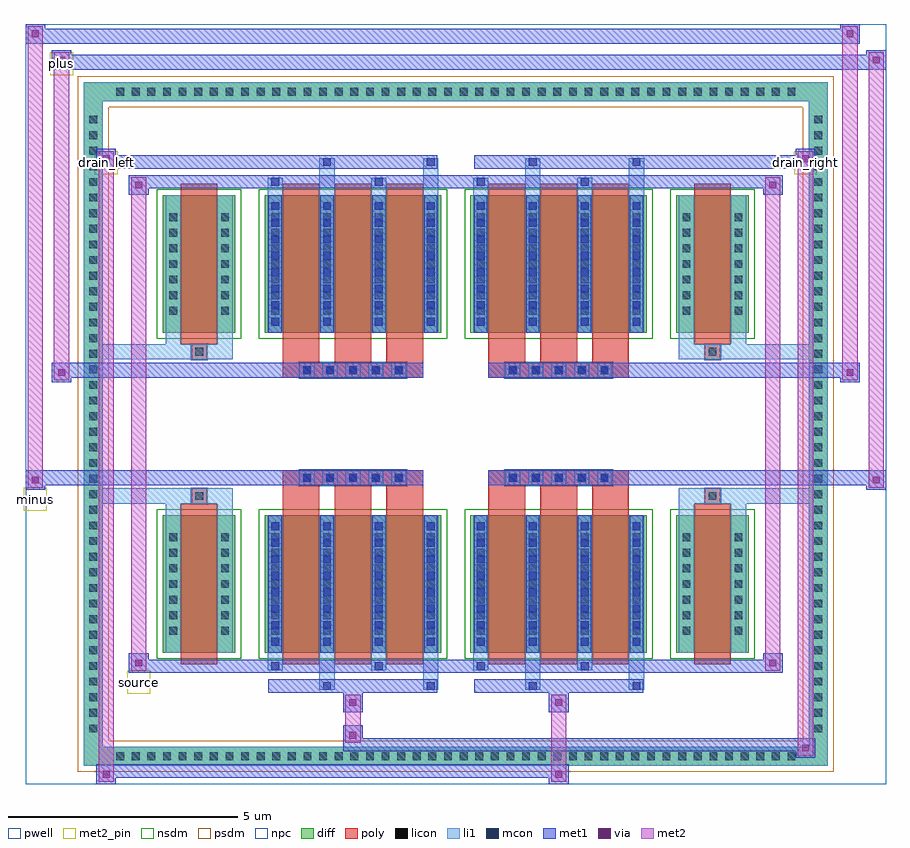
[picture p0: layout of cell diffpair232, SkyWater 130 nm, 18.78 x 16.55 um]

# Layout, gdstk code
import gdstk
lib = gdstk.Library(unit=1e-6, precision=5e-09)
def R(c, l, rs):  # rectangles x0, y0, x1, y1
    for r in rs: c.add(gdstk.rectangle(r[:2], r[2:], *l))
def A(c, l, x, y, w, h, nx, ny, dx, dy):  # array of equal rectangles
    R(c, l, [(x+i*dx, y+j*dy, x+i*dx+w, y+j*dy+h) for i in range(nx) for j in range(ny)])
def P(c, l, *ps):  # polygons
    for p in ps: c.add(gdstk.Polygon(p, *l))
pwell = (64, 44)
diff = (65, 20)
poly = (66, 20)
licon = (66, 44)
li1 = (67, 20)
mcon = (67, 44)
met1 = (68, 20)
via = (68, 44)
met2_pin = (69, 16)
met2 = (69, 20)
nsdm = (93, 44)
psdm = (94, 20)
npc = (95, 20)

diffpair232 = lib.new_cell('diffpair232')
R(diffpair232, pwell, [(-9.37,-7.84,9.37,8.71), (-6.69,-6.03,-0.01,-0.805), (0.01,-6.03,6.69,-0.805), (-6.69,0.805,-0.01,6.03), (0.01,0.805,6.69,6.03)])
A(diffpair232, diff, -7.515, -7.44, 0.41, 0.41, 44, 2, 0.34, 14.47)
A(diffpair232, diff, -8.1, -6.835, 0.41, 0.41, 1, 40, 0, 0.34)
A(diffpair232, diff, 7.69, -6.835, 0.41, 0.41, 1, 40, 0, 0.34)
R(diffpair232, diff, [(-7.515,-7.44,7.515,-7.03), (-8.1,-6.835,-7.69,6.835), (7.69,-6.835,8.1,6.835), (-6.38,-4.985,-4.8,-1.985), (-4.16,-4.985,-0.32,-1.985), (0.32,-4.985,4.16,-1.985), (4.8,-4.985,6.38,-1.985), (-6.38,1.985,-4.8,4.985), (-4.16,1.985,-0.32,4.985), (0.32,1.985,4.16,4.985), (4.8,1.985,6.38,4.985), (-7.515,7.03,7.515,7.44)])
P(diffpair232, diff, [(8.1,7.44),(-8.1,7.44),(-8.1,-7.03),(-7.69,-7.03),(-7.69,7.03),(7.69,7.03),(7.69,-7.03),(-7.69,-7.03),(-8.1,-7.03),(-8.1,-7.44),(8.1,-7.44)])
A(diffpair232, poly, -3.77, -5.235, 0.8, 3.5, 3, 2, 1.13, 6.97)
A(diffpair232, poly, 0.71, -5.235, 0.8, 3.5, 3, 2, 1.13, 6.97)
A(diffpair232, poly, -3.77, -1.735, 0.8, 0.4, 3, 2, 1.13, 3.07)
A(diffpair232, poly, 0.71, -1.735, 0.8, 0.4, 3, 2, 1.13, 3.07)
A(diffpair232, poly, -3.405, -1.335, 0.33, 0.33, 5, 2, 0.5, 2.34)
A(diffpair232, poly, 1.075, -1.335, 0.33, 0.33, 5, 2, 0.5, 2.34)
R(diffpair232, poly, [(-5.99,-5.235,-5.19,-1.735), (5.19,-5.235,5.99,-1.735), (-5.755,-1.735,-5.425,-1.405), (-5.755,-1.735,-5.425,-1.405), (5.425,-1.735,5.755,-1.405), (5.425,-1.735,5.755,-1.405), (-3.77,-1.335,-0.71,-1.005), (0.71,-1.335,3.77,-1.005), (-3.77,1.005,-0.71,1.335), (0.71,1.005,3.77,1.335), (-5.755,1.405,-5.425,1.735), (-5.755,1.405,-5.425,1.735), (5.425,1.405,5.755,1.735), (5.425,1.405,5.755,1.735), (-5.99,1.735,-5.19,5.235), (5.19,1.735,5.99,5.235)])
A(diffpair232, licon, -7.395, -7.32, 0.17, 0.17, 44, 2, 0.34, 14.47)
A(diffpair232, licon, -7.98, -6.715, 0.17, 0.17, 1, 40, 0, 0.34)
A(diffpair232, licon, 7.81, -6.715, 0.17, 0.17, 1, 40, 0, 0.34)
A(diffpair232, licon, -6.24, -4.59, 0.17, 0.17, 1, 7, 0, 0.34)
A(diffpair232, licon, -5.11, -4.59, 0.17, 0.17, 1, 7, 0, 0.34)
A(diffpair232, licon, -4.02, -4.59, 0.17, 0.17, 4, 7, 1.13, 0.34)
A(diffpair232, licon, 0.46, -4.59, 0.17, 0.17, 4, 7, 1.13, 0.34)
A(diffpair232, licon, 4.94, -4.59, 0.17, 0.17, 1, 7, 0, 0.34)
A(diffpair232, licon, 6.07, -4.59, 0.17, 0.17, 1, 7, 0, 0.34)
A(diffpair232, licon, -3.325, -1.255, 0.17, 0.17, 5, 2, 0.5, 2.34)
A(diffpair232, licon, 1.155, -1.255, 0.17, 0.17, 5, 2, 0.5, 2.34)
A(diffpair232, licon, -6.24, 2.38, 0.17, 0.17, 1, 7, 0, 0.34)
A(diffpair232, licon, -5.11, 2.38, 0.17, 0.17, 1, 7, 0, 0.34)
A(diffpair232, licon, -4.02, 2.38, 0.17, 0.17, 4, 7, 1.13, 0.34)
A(diffpair232, licon, 0.46, 2.38, 0.17, 0.17, 4, 7, 1.13, 0.34)
A(diffpair232, licon, 4.94, 2.38, 0.17, 0.17, 1, 7, 0, 0.34)
A(diffpair232, licon, 6.07, 2.38, 0.17, 0.17, 1, 7, 0, 0.34)
R(diffpair232, licon, [(-5.675,-1.655,-5.505,-1.485), (5.505,-1.655,5.675,-1.485), (-5.675,1.485,-5.505,1.655), (5.505,1.485,5.675,1.655)])
A(diffpair232, li1, -7.475, -7.4, 0.33, 0.33, 44, 2, 0.34, 14.47)
A(diffpair232, li1, -8.06, -6.795, 0.33, 0.33, 1, 40, 0, 0.34)
A(diffpair232, li1, 7.73, -6.795, 0.33, 0.33, 1, 40, 0, 0.34)
A(diffpair232, li1, -4.1, -4.985, 0.33, 3, 4, 2, 1.13, 6.97)
A(diffpair232, li1, 0.38, -4.985, 0.33, 3, 4, 2, 1.13, 6.97)
A(diffpair232, li1, -4.02, -4.83, 0.17, 0.17, 4, 8, 1.13, 0.36)
A(diffpair232, li1, -4.02, -4.83, 0.17, 2.69, 4, 2, 1.13, 6.97)
A(diffpair232, li1, 0.46, -4.83, 0.17, 0.17, 4, 8, 1.13, 0.36)
A(diffpair232, li1, 0.46, -4.83, 0.17, 2.69, 4, 2, 1.13, 6.97)
A(diffpair232, li1, -6.32, -4.67, 0.33, 0.33, 1, 7, 0, 0.34)
A(diffpair232, li1, -5.19, -4.67, 0.33, 0.33, 1, 7, 0, 0.34)
A(diffpair232, li1, -4.1, -4.67, 0.33, 0.33, 4, 7, 1.13, 0.34)
A(diffpair232, li1, 0.38, -4.67, 0.33, 0.33, 4, 7, 1.13, 0.34)
A(diffpair232, li1, 4.86, -4.67, 0.33, 0.33, 1, 7, 0, 0.34)
A(diffpair232, li1, 5.99, -4.67, 0.33, 0.33, 1, 7, 0, 0.34)
A(diffpair232, li1, -3.405, -1.335, 0.33, 0.33, 5, 2, 0.5, 2.34)
A(diffpair232, li1, 1.075, -1.335, 0.33, 0.33, 5, 2, 0.5, 2.34)
A(diffpair232, li1, -4.02, 2.14, 0.17, 0.17, 4, 8, 1.13, 0.36)
A(diffpair232, li1, 0.46, 2.14, 0.17, 0.17, 4, 8, 1.13, 0.36)
A(diffpair232, li1, -6.32, 2.3, 0.33, 0.33, 1, 7, 0, 0.34)
A(diffpair232, li1, -5.19, 2.3, 0.33, 0.33, 1, 7, 0, 0.34)
A(diffpair232, li1, -4.1, 2.3, 0.33, 0.33, 4, 7, 1.13, 0.34)
A(diffpair232, li1, 0.38, 2.3, 0.33, 0.33, 4, 7, 1.13, 0.34)
A(diffpair232, li1, 4.86, 2.3, 0.33, 0.33, 1, 7, 0, 0.34)
A(diffpair232, li1, 5.99, 2.3, 0.33, 0.33, 1, 7, 0, 0.34)
R(diffpair232, li1, [(-8.1,-7.44,-7.69,-7.03), (-8.1,-7.44,-7.69,-7.03), (-7.69,-7.44,7.69,-7.03), (7.69,-7.44,8.1,-7.03), (7.69,-7.44,8.1,-7.03), (-8.1,-7.03,-7.69,7.03), (7.69,-7.03,8.1,7.03), (-2.97,-5.79,-2.64,-4.985), (-2.89,-5.79,-2.72,-5.62), (-0.71,-5.79,-0.38,-4.985), (-0.63,-5.79,-0.46,-5.62), (1.51,-5.79,1.84,-4.985), (1.59,-5.79,1.76,-5.62), (3.77,-5.79,4.1,-4.985), (3.85,-5.79,4.02,-5.62), (-4.1,-5.36,-3.77,-4.985), (-4.02,-5.36,-3.85,-5.19), (-1.84,-5.36,-1.51,-4.985), (-1.76,-5.36,-1.59,-5.19), (0.38,-5.36,0.71,-4.985), (0.46,-5.36,0.63,-5.19), (2.64,-5.36,2.97,-4.985), (2.72,-5.36,2.89,-5.19), (-6.32,-4.985,-5.99,-1.985), (-5.19,-4.985,-4.86,-1.985), (4.86,-4.985,5.19,-1.985), (5.99,-4.985,6.32,-1.985), (-6.32,-1.985,-5.99,-1.405), (-5.19,-1.985,-4.86,-1.405), (4.86,-1.985,5.19,-1.405), (5.99,-1.985,6.32,-1.405), (-8.1,-1.735,-5.755,-1.405), (-6.32,-1.735,-5.755,-1.405), (-5.755,-1.735,-5.425,-1.405), (-5.425,-1.735,-4.86,-1.405), (4.86,-1.735,5.425,-1.405), (5.425,-1.735,5.755,-1.405), (5.425,-1.735,8.1,-1.405), (5.755,-1.735,6.32,-1.405), (-8.1,1.405,-5.755,1.735), (-6.32,1.405,-5.755,1.735), (-6.32,1.405,-5.99,1.985), (-5.755,1.405,-5.425,1.735), (-5.425,1.405,-4.86,1.735), (-5.19,1.405,-4.86,1.985), (4.86,1.405,5.425,1.735), (4.86,1.405,5.19,1.985), (5.425,1.405,5.755,1.735), (5.425,1.405,8.1,1.735), (5.755,1.405,6.32,1.735), (5.99,1.405,6.32,1.985), (-6.32,1.985,-5.99,4.985), (-5.19,1.985,-4.86,4.985), (4.86,1.985,5.19,4.985), (5.99,1.985,6.32,4.985), (-4.1,4.985,-3.77,5.36), (-2.97,4.985,-2.64,5.79), (-1.84,4.985,-1.51,5.36), (-0.71,4.985,-0.38,5.79), (0.38,4.985,0.71,5.36), (1.51,4.985,1.84,5.79), (2.64,4.985,2.97,5.36), (3.77,4.985,4.1,5.79), (-4.02,5.19,-3.85,5.36), (-1.76,5.19,-1.59,5.36), (0.46,5.19,0.63,5.36), (2.72,5.19,2.89,5.36), (-2.89,5.62,-2.72,5.79), (-0.63,5.62,-0.46,5.79), (1.59,5.62,1.76,5.79), (3.85,5.62,4.02,5.79), (-8.1,7.03,-7.69,7.44), (-8.1,7.03,-7.69,7.44), (-7.69,7.03,7.69,7.44), (7.69,7.03,8.1,7.44), (7.69,7.03,8.1,7.44)])
A(diffpair232, mcon, -4.02, -4.83, 0.17, 0.17, 4, 8, 1.13, 0.36)
A(diffpair232, mcon, 0.46, -4.83, 0.17, 0.17, 4, 8, 1.13, 0.36)
A(diffpair232, mcon, -3.325, -1.255, 0.17, 0.17, 5, 2, 0.5, 2.34)
A(diffpair232, mcon, 1.155, -1.255, 0.17, 0.17, 5, 2, 0.5, 2.34)
A(diffpair232, mcon, -4.02, 2.14, 0.17, 0.17, 4, 8, 1.13, 0.36)
A(diffpair232, mcon, 0.46, 2.14, 0.17, 0.17, 4, 8, 1.13, 0.36)
R(diffpair232, mcon, [(-2.89,-5.79,-2.72,-5.62), (-0.63,-5.79,-0.46,-5.62), (1.59,-5.79,1.76,-5.62), (3.85,-5.79,4.02,-5.62), (-4.02,-5.36,-3.85,-5.19), (-1.76,-5.36,-1.59,-5.19), (0.46,-5.36,0.63,-5.19), (2.72,-5.36,2.89,-5.19), (-4.02,5.19,-3.85,5.36), (-1.76,5.19,-1.59,5.36), (0.46,5.19,0.63,5.36), (2.72,5.19,2.89,5.36), (-2.89,5.62,-2.72,5.79), (-0.63,5.62,-0.46,5.79), (1.59,5.62,1.76,5.79), (3.85,5.62,4.02,5.79)])
A(diffpair232, met1, -4.08, -4.985, 0.29, 3, 4, 2, 1.13, 6.97)
A(diffpair232, met1, 0.4, -4.985, 0.29, 3, 4, 2, 1.13, 6.97)
A(diffpair232, met1, -4.08, -4.89, 0.29, 0.29, 4, 8, 1.13, 0.36)
A(diffpair232, met1, 0.4, -4.89, 0.29, 0.29, 4, 8, 1.13, 0.36)
A(diffpair232, met1, -3.385, -1.315, 0.29, 0.29, 5, 2, 0.5, 2.34)
A(diffpair232, met1, 1.095, -1.315, 0.29, 0.29, 5, 2, 0.5, 2.34)
A(diffpair232, met1, -4.08, 2.08, 0.29, 0.29, 4, 8, 1.13, 0.36)
A(diffpair232, met1, 0.4, 2.08, 0.29, 0.29, 4, 8, 1.13, 0.36)
R(diffpair232, met1, [(-7.83,-7.84,-7.4,-7.41), (2.025,-7.84,2.455,-7.41), (-7.83,-7.7,2.455,-7.41), (7.4,-7.27,7.83,-6.84), (-2.455,-7.13,7.83,-6.84), (-2.455,-6.99,-2.025,-6.56), (-2.455,-6.28,-2.025,-5.85), (2.025,-6.28,2.455,-5.85), (-4.08,-5.85,-0.4,-5.56), (-2.95,-5.85,-2.66,-5.56), (-0.69,-5.85,-0.4,-5.56), (0.4,-5.85,4.08,-5.56), (1.53,-5.85,1.82,-5.56), (3.79,-5.85,4.08,-5.56), (-7.12,-5.42,-6.69,-4.99), (-7.12,-5.42,-4.08,-5.13), (-4.08,-5.42,-3.79,-5.13), (-4.08,-5.42,-0.4,-5.13), (-1.82,-5.42,-1.53,-5.13), (-0.4,-5.42,0.4,-5.13), (0.4,-5.42,0.69,-5.13), (0.4,-5.42,4.08,-5.13), (2.66,-5.42,2.95,-5.13), (4.08,-5.42,7.12,-5.13), (6.69,-5.42,7.12,-4.99), (-9.37,-1.435,-8.94,-1.005), (8.94,-1.435,9.37,-1.005), (-9.37,-1.335,-0.71,-1.005), (-3.77,-1.335,-0.71,-1.005), (0.71,-1.335,3.77,-1.005), (0.71,-1.335,9.37,-1.005), (-8.8,0.905,-8.37,1.335), (8.37,0.905,8.8,1.335), (-8.8,1.005,-3.77,1.335), (-3.77,1.005,-0.71,1.335), (0.71,1.005,3.77,1.335), (3.77,1.005,8.8,1.335), (-7.12,4.99,-6.69,5.42), (6.69,4.99,7.12,5.42), (-7.12,5.13,-4.08,5.42), (-4.08,5.13,-3.79,5.42), (-4.08,5.13,-0.4,5.42), (-1.82,5.13,-1.53,5.42), (-0.4,5.13,0.4,5.42), (0.4,5.13,0.69,5.42), (0.4,5.13,4.08,5.42), (2.66,5.13,2.95,5.42), (4.08,5.13,7.12,5.42), (-7.83,5.56,-7.4,5.99), (-7.83,5.56,-4.08,5.85), (-4.08,5.56,-0.4,5.85), (-2.95,5.56,-2.66,5.85), (-0.69,5.56,-0.4,5.85), (0.4,5.56,4.08,5.85), (1.53,5.56,1.82,5.85), (3.79,5.56,4.08,5.85), (4.08,5.56,7.83,5.85), (7.4,5.56,7.83,5.99), (-8.8,7.71,-8.37,8.14), (-8.8,7.71,-6.69,8.04), (-6.69,7.71,6.69,8.04), (6.69,7.71,9.37,8.04), (8.94,7.71,9.37,8.14), (-9.37,8.28,-8.94,8.71), (-9.37,8.28,-6.69,8.61), (-6.69,8.28,6.69,8.61), (6.69,8.28,8.8,8.61), (8.37,8.28,8.8,8.71)])
R(diffpair232, via, [(-7.69,-7.7,-7.54,-7.55), (2.165,-7.7,2.315,-7.55), (7.54,-7.13,7.69,-6.98), (-2.315,-6.85,-2.165,-6.7), (-2.315,-6.14,-2.165,-5.99), (2.165,-6.14,2.315,-5.99), (-6.98,-5.28,-6.83,-5.13), (6.83,-5.28,6.98,-5.13), (-9.23,-1.295,-9.08,-1.145), (9.08,-1.295,9.23,-1.145), (-8.66,1.045,-8.51,1.195), (8.51,1.045,8.66,1.195), (-6.98,5.13,-6.83,5.28), (6.83,5.13,6.98,5.28), (-7.69,5.7,-7.54,5.85), (7.54,5.7,7.69,5.85), (-8.66,7.85,-8.51,8), (9.08,7.85,9.23,8), (-9.23,8.42,-9.08,8.57), (8.51,8.42,8.66,8.57)])
R(diffpair232, met2_pin, [(-7.155,-5.87,-6.655,-5.37), (-9.405,-1.885,-8.905,-1.385), (-7.865,5.44,-7.365,5.94), (7.365,5.44,7.865,5.94), (-8.835,7.59,-8.335,8.09)])
R(diffpair232, met2, [(-7.78,-7.79,-7.45,-7.46), (-7.78,-7.79,-7.45,5.94), (2.075,-7.79,2.405,-7.46), (2.075,-7.46,2.405,-6.23), (7.45,-7.22,7.78,-6.89), (7.45,-7.22,7.78,5.94), (-2.405,-6.94,-2.075,-6.61), (-2.405,-6.61,-2.075,-6.23), (-2.405,-6.23,-2.075,-5.9), (2.075,-6.23,2.405,-5.9), (-7.07,-5.37,-6.74,-5.04), (-7.07,-5.37,-6.74,5.37), (6.74,-5.37,7.07,-5.04), (6.74,-5.37,7.07,5.37), (-9.32,-1.385,-8.99,-1.055), (-9.32,-1.385,-8.99,8.66), (8.99,-1.385,9.32,-1.055), (8.99,-1.385,9.32,8.09), (-8.75,0.955,-8.42,1.285), (-8.75,0.955,-8.42,8.09), (8.42,0.955,8.75,1.285), (8.42,0.955,8.75,8.66), (-7.07,5.04,-6.74,5.37), (6.74,5.04,7.07,5.37), (-7.78,5.61,-7.45,5.94), (7.45,5.61,7.78,5.94), (-8.75,7.76,-8.42,8.09), (8.99,7.76,9.32,8.09), (-9.32,8.33,-8.99,8.66), (8.42,8.33,8.75,8.66)])
P(diffpair232, met2, [(9.32,-1.385),(9.32,-1.385),(9.32,-1.055),(9.32,-1.055)],
  [(9.32,7.76),(9.32,7.76),(9.32,8.09),(9.32,8.09)],
  [(-8.99,-1.385),(-8.99,-1.385),(-8.99,-1.055),(-8.99,-1.055)],
  [(-8.99,8.33),(-8.99,8.33),(-8.99,8.66),(-8.99,8.66)],
  [(8.75,0.955),(8.75,0.955),(8.75,1.285),(8.75,1.285)],
  [(8.75,8.33),(8.75,8.33),(8.75,8.66),(8.75,8.66)],
  [(-8.42,0.955),(-8.42,0.955),(-8.42,1.285),(-8.42,1.285)],
  [(-8.42,7.76),(-8.42,7.76),(-8.42,8.09),(-8.42,8.09)],
  [(-7.45,-7.79),(-7.45,-7.79),(-7.45,-7.46),(-7.45,-7.46)],
  [(-7.45,5.61),(-7.45,5.61),(-7.45,5.94),(-7.45,5.94)],
  [(7.78,-7.22),(7.78,-7.22),(7.78,-6.89),(7.78,-6.89)],
  [(7.78,5.61),(7.78,5.61),(7.78,5.94),(7.78,5.94)],
  [(-6.74,-5.37),(-6.74,-5.37),(-6.74,-5.04),(-6.74,-5.04)],
  [(-6.74,5.04),(-6.74,5.04),(-6.74,5.37),(-6.74,5.37)],
  [(7.07,-5.37),(7.07,-5.37),(7.07,-5.04),(7.07,-5.04)],
  [(7.07,5.04),(7.07,5.04),(7.07,5.37),(7.07,5.37)])
R(diffpair232, nsdm, [(-6.51,-5.115,-4.67,-1.855), (-4.29,-5.115,-0.19,-1.855), (0.19,-5.115,4.29,-1.855), (4.67,-5.115,6.51,-1.855), (-6.51,1.855,-4.67,5.115), (-4.29,1.855,-0.19,5.115), (0.19,1.855,4.29,5.115), (4.67,1.855,6.51,5.115)])
P(diffpair232, psdm, [(8.23,7.57),(-8.23,7.57),(-8.23,-6.9),(-7.56,-6.9),(-7.56,6.9),(7.56,6.9),(7.56,-6.9),(-7.56,-6.9),(-8.23,-6.9),(-8.23,-7.57),(8.23,-7.57)])
A(diffpair232, npc, -3.425, -1.355, 0.37, 0.37, 5, 2, 0.5, 2.34)
A(diffpair232, npc, 1.055, -1.355, 0.37, 0.37, 5, 2, 0.5, 2.34)
R(diffpair232, npc, [(-5.775,-1.755,-5.405,-1.385), (5.405,-1.755,5.775,-1.385), (-3.425,-1.355,-2.555,-0.985), (-3.425,-1.355,-2.555,-0.985), (-2.925,-1.355,-2.055,-0.985), (-2.925,-1.355,-2.055,-0.985), (-2.425,-1.355,-1.555,-0.985), (-2.425,-1.355,-1.555,-0.985), (-1.925,-1.355,-1.055,-0.985), (-1.925,-1.355,-1.055,-0.985), (1.055,-1.355,1.925,-0.985), (1.055,-1.355,1.925,-0.985), (1.555,-1.355,2.425,-0.985), (1.555,-1.355,2.425,-0.985), (2.055,-1.355,2.925,-0.985), (2.055,-1.355,2.925,-0.985), (2.555,-1.355,3.425,-0.985), (2.555,-1.355,3.425,-0.985), (-3.425,0.985,-2.555,1.355), (-3.425,0.985,-2.555,1.355), (-2.925,0.985,-2.055,1.355), (-2.925,0.985,-2.055,1.355), (-2.425,0.985,-1.555,1.355), (-2.425,0.985,-1.555,1.355), (-1.925,0.985,-1.055,1.355), (-1.925,0.985,-1.055,1.355), (1.055,0.985,1.925,1.355), (1.055,0.985,1.925,1.355), (1.555,0.985,2.425,1.355), (1.555,0.985,2.425,1.355), (2.055,0.985,2.925,1.355), (2.055,0.985,2.925,1.355), (2.555,0.985,3.425,1.355), (2.555,0.985,3.425,1.355), (-5.775,1.385,-5.405,1.755), (5.405,1.385,5.775,1.755)])
diffpair232.add(gdstk.Label('minus', (-9.155,-1.635), layer=69, texttype=5))
diffpair232.add(gdstk.Label('drain_right', (7.615,5.69), layer=69, texttype=5))
diffpair232.add(gdstk.Label('drain_left', (-7.615,5.69), layer=69, texttype=5))
diffpair232.add(gdstk.Label('source', (-6.905,-5.62), layer=69, texttype=5))
diffpair232.add(gdstk.Label('plus', (-8.585,7.84), layer=69, texttype=5))

lib.write_gds('diffpair232.gds')
